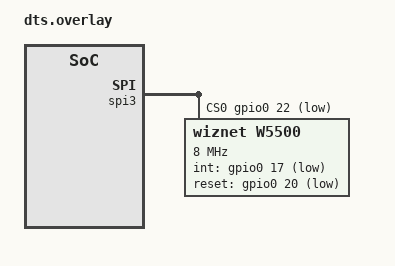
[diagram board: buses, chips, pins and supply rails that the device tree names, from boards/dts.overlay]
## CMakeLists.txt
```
# SPDX-License-Identifier: Apache-2.0

cmake_minimum_required(VERSION 3.20.0)

find_package(Zephyr REQUIRED HINTS $ENV{ZEPHYR_BASE})
project(ethernet)

set(DTC_OVERLAY_FILE "${CMAKE_CURRENT_SOURCE_DIR}/boards/dts.overlay")

FILE(GLOB app_sources src/*.c)
target_sources(app PRIVATE ${app_sources})
```

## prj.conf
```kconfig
# Ativar suporte ao SPI e W5500
CONFIG_SPI=y
CONFIG_ETH_W5500=y
CONFIG_NET_L2_ETHERNET=y
CONFIG_GPIO=y
CONFIG_ETH_W5500_TIMEOUT=1000

# Configurar rede com IP estático

CONFIG_NET_IPV4=y  # Optional, for IPv4 support
CONFIG_NET_IPV6=n  # Optional, for IPv6 support
#CONFIG_NET_CONFIG=y
CONFIG_NET_CONFIG_SETTINGS=y
CONFIG_NET_CONFIG_MY_IPV4_ADDR="192.168.1.100"
CONFIG_NET_CONFIG_MY_IPV4_NETMASK="255.255.255.0"
CONFIG_NET_CONFIG_MY_IPV4_GW="192.168.1.1"
#CONFIG_NET_CONFIG_MY_IPV4_DNS="8.8.8.8"
CONFIG_NET_DHCPV4=n
#CONFIG_NET_IF_UNICAST_IPV4_ADDR_COUNT=3;

# Habilitar logs para depuração
CONFIG_LOG=y
CONFIG_NET_LOG=y
#CONFIG_ETH_W5500_LOG_LEVEL_DBG=y
CONFIG_SPI_LOG_LEVEL_DBG=y
CONFIG_NET_CONFIG_AUTO_INIT=y  # Automatically initialize network interfaces
#NET_IF_MAX_IPV4_ADDR=5
CONFIG_NETWORKING=y

#ipv6
CONFIG_NET_IPV6_MLD=n

#CONFIG_NET_IF_IPV6=y
#CONFIG_NET_IPV6_AUTOCONF=y

CONFIG_NET_PKT_TX_COUNT=10
CONFIG_NET_PKT_RX_COUNT=10
CONFIG_NET_BUF_TX_COUNT=10
CONFIG_NET_BUF_RX_COUNT=10

#new

CONFIG_DNS_SERVER1="8.8.8.8"

# CONFIG_ETH_NATIVE_POSIX=y
# CONFIG_ETH_NATIVE_POSIX_RANDOM_MAC=y

# CONFIG_NET_IF_UNICAST_IPV6_ADDR_COUNT=3
# CONFIG_NET_IF_MCAST_IPV6_ADDR_COUNT=4
# CONFIG_NET_MAX_CONTEXTS=10

CONFIG_NET_SHELL=y
# CONFIG_NET_DEFAULT_IF_ETHERNET=y
CONFIG_NET_SOCKETS=y
# CONFIG_NET_SOCKETS_POSIX_NAMES=y

# CONFIG_UART_CONSOLE=n
# CONFIG_RTT_CONSOLE=y


CONFIG_NET_CONFIG_NEED_IPV4=y

# CONFIG_NET_BUF_TX_COUNT=32

# CONFIG_NET_IF_UNICAST_IPV6_ADDR_COUNT=3
# CONFIG_NET_IF_MCAST_IPV6_ADDR_COUNT=4
#CONFIG_NET_MAX_CONTEXTS=10

CONFIG_NET_MGMT=y
CONFIG_NET_MGMT_EVENT=y


# # Network address config
# CONFIG_NET_CONFIG_SETTINGS=y
# # CONFIG_NET_CONFIG_NEED_IPV6=y
# CONFIG_NET_CONFIG_NEED_IPV4=y

# CONFIG_NET_CONFIG_MY_IPV6_ADDR="2001:db8:200::1"
# CONFIG_NET_CONFIG_PEER_IPV6_ADDR="2001:db8:200::2"
# CONFIG_NET_CONFIG_MY_IPV4_ADDR="192.168.1.160"
# CONFIG_NET_CONFIG_PEER_IPV4_ADDR="192.168.1.161"
# CONFIG_NET_CONFIG_MY_IPV4_GW="192.168.1.1"
#  CONFIG_ETH_NATIVE_POSIX_RANDOM_MAC=n
# #CONFIG_ETH_NATIVE_POSIX_MAC_ADDR="00:00:5e:00:53:c8"
# CONFIG_ETH_NATIVE_POSIX_SETUP_SCRIPT="echo"
# CONFIG_ETH_NATIVE_POSIX_DRV_NAME="w5500"


CONFIG_DNS_RESOLVER=y
CONFIG_DNS_SERVER_IP_ADDRESSES=y

# CONFIG_NET_IPV6=y

CONFIG_NET_ARP=y
CONFIG_NET_TCP=y
CONFIG_NET_UDP=y


#CONFIG_APP_EVENT_MANAGER=y

CONFIG_ENTROPY_GENERATOR=y
CONFIG_TEST_RANDOM_GENERATOR=y
CONFIG_INIT_STACKS=y


CONFIG_NET_STATISTICS=y


# CONFIG_NET_PKT_RX_COUNT=32
# CONFIG_NET_PKT_TX_COUNT=32
# CONFIG_NET_BUF_RX_COUNT=32

# General config
CONFIG_NEWLIB_LIBC=y
CONFIG_MAIN_STACK_SIZE=1200
```

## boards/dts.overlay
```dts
//&w5500 {
//    compatible = "wiznet,w5500";
//    spi-max-frequency = <8000000>;
//    cs-gpios = <&gpio0 12 GPIO_ACTIVE_LOW>;  /* SCS (Chip Select) conectado ao P0.12 */
//    int-gpios = <&gpio0 17 GPIO_ACTIVE_HIGH>; /* INT (Interrupt) conectado ao P0.17 */
//    reset-gpios = <&gpio0 16 GPIO_ACTIVE_LOW>; /* RST (Reset) conectado ao P0.16 */
//    label = "W5500";
//};

//&spi0 {
//    status = "okay";
//    sck-pin = <13>;  /* SCLK conectado ao P0.13 */
//    mosi-pin = <14>; /* MOSI conectado ao P0.14 */
//    miso-pin = <15>; /* MISO conectado ao P0.15 */
//};

//&spi3 {
//    status = "okay";
//    cs-gpios = <&gpio0 12 GPIO_ACTIVE_LOW>;
//    w5500: w5500@0 {
//        compatible = "wiznet,w5500";
//        reg = <0>;
//        interrupt-gpios = <&gpio0 17 GPIO_ACTIVE_LOW>;
//        status = "okay";
//    };
//};


&spi0 {
    status = "disabled";
};
&spi1{
    status = "disabled";
};
&spi2 {
    status = "disabled";
};


&spi3 {
    compatible = "nordic,nrf-spim";    /* Driver SPI para nRF52833 */

    status = "okay";  /* Ativa o SPI3 */

    /* Define os pinos do SPI */
    //pinctrl-0 = < &spi3_default >;
    //pinctrl-1 = < &spi3_sleep >;
    //pinctrl-names = "default", "sleep";

    /* Configuração do Chip Select (CS) */
    cs-gpios = < &gpio0 22 GPIO_ACTIVE_LOW >; /* GPIO para CS */

    w5500: w5500@0 {
        compatible = "wiznet,w5500";
        reg = <0>;  /* Endereço do dispositivo SPI */
        spi-max-frequency = <8000000>; /* Frequência máxima do SPI (8 MHz) */
        int-gpios = < &gpio0 17 GPIO_ACTIVE_LOW >; /* Pino de interrupção */
        reset-gpios = <&gpio0 20 GPIO_ACTIVE_LOW>; /* Pino de reset */
        status = "okay";
    };
};

/*&pinctrl {
    spi3_default: spi3_default {
        group1 {
            psels = <0 21>,   P1.01 como SCK 
                    <0 20>,   P1.02 como MOSI 
                    <0 19>;   P1.07 como MISO 
            bias-pull-up;
        };
    };

    spi3_sleep: spi3_sleep {
        group1 {
            psels = <0 21>,  
                    <0 20>,  
                    <0 19>;
            low-power-enable;
        };
    };
};*/
```

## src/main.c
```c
/*
 * Copyright (c) 2022 Grant Ramsay <grant.ramsay@hotmail.com>
 *
 * SPDX-License-Identifier: Apache-2.0
 */

#define DT_DRV_COMPAT	wiznet_w5500

//Includes
#include <stdio.h>
#include <stdint.h>
//#include "nrf.h"
#include <string.h>
#include <errno.h>
#include <zephyr/kernel.h>
#include <zephyr/net/net_if.h>
#include <zephyr/net/net_ip.h>
#include <zephyr/net/ethernet.h>
#include <zephyr/drivers/ethernet/eth_nxp_enet.h>
#include <zephyr/net/socket.h>
#include <zephyr/logging/log.h>
#include <zephyr/random/random.h>
#include <zephyr/drivers/spi.h>
#include <zephyr/device.h>
#include <zephyr/net/net_mgmt.h>
#include <zephyr/net/net_if.h>
#include <zephyr/net/net_context.h>
#include <zephyr/net/icmp.h>
#include <zephyr/net/net_pkt.h>
#include <ethernet/eth_stats.h>
#include <zephyr/drivers/gpio.h>
#include <zephyr/net/net_pkt.h>
#include <zephyr/syscalls/random.h>

#include "eth.h"
#include "eth_w5500_priv.h"

//#include <zephyr/net/ipv6.h>
//#include <zephyr/net/net_route.h>
//#include <zephyr/net/icmpv6.h>



LOG_MODULE_REGISTER(main, CONFIG_ETHERNET_LOG_LEVEL);

#define WIZNET_OUI_B0	0x00
#define WIZNET_OUI_B1	0x08
#define WIZNET_OUI_B2	0xdc

#define W5500_SPI_BLOCK_SELECT(addr)	(((addr) >> 16) & 0x1f)
#define W5500_SPI_READ_CONTROL(addr)	(W5500_SPI_BLOCK_SELECT(addr) << 3)
#define W5500_SPI_WRITE_CONTROL(addr)   \
	((W5500_SPI_BLOCK_SELECT(addr) << 3) | BIT(2))


#define Mensagem "1 2 3 4\n"
#define IP_ADDR "192.168.1.100"
#define NETMASK "255.255.255.0"
#define GATEWAY "192.168.1.1"  // Defina o Gateway (Roteador) para a sua rede


/* Variáveis para interface de rede */
struct net_if *iface;
struct ethernet_config cfg;

#define SPI_NODE DT_NODELABEL(spi3)



/* Função para inicializar a rede */
void init_network(void)
{
    LOG_INF("Iniciando rede com IP estático...");

    struct net_if *iface = net_if_get_default();
    
    if (iface == NULL) {
        LOG_ERR("Interface de rede não encontrada!");
        return;
    }

    LOG_INF("Interface de rede ativa com IP: 192.168.1.100");
}

/* Função para configurar o SPI */
void init_spi(void)
{
    LOG_INF("Inicializando SPI3 para W5500...");
    const struct device *spi_dev = DEVICE_DT_GET(DT_NODELABEL(spi3));

    if (!device_is_ready(spi_dev)) {
        LOG_ERR("Dispositivo SPI3 não está pronto!");
        return;
    }

    LOG_INF("SPI3 inicializado com sucesso.");
}

/*
void print_ipv6_addresses(void) {
    struct net_if *iface = net_if_get_default();
    if (iface == NULL) {
        printk("Interface de rede padrão não encontrada.\n");
        return;
    }

    struct net_if_ipv6 *ipv6 = &iface->config.ip.ipv6;
    
    if (ipv6 == NULL) {
        printk("IPv6 não configurado nesta interface.\n");
        return;
    }

    printk("Endereços IPv6 configurados:\n");

     Verificar e exibir o endereço IPv6 configurado na interface 
    for (int i = 0; i < NET_IF_MAX_IPV6_ADDR; i++) {
        struct net_if_addr *addr = &ipv6->unicast[i];

        if (addr->is_used) {
            char addr_str[NET_IPV6_ADDR_LEN];
            net_addr_ntop(AF_INET6, &addr->address.in6_addr, addr_str, sizeof(addr_str));
            printk("  -> %s\n", addr_str);
        }
    }
}

void configure_ipv6_gateway(void) {
    struct net_if *iface;
    struct in6_addr gateway_addr = { { 0x78, 0x3b, 0x10, 0x00, 0x84, 0x18, 0x20, 0x00 } }; // exemplo de endereço de gateway
    struct net_route *route;

    // Obtém a interface de rede padrão
    iface = net_if_get_default();

    // Cria uma rota para o gateway IPv6
    route = net_route_add(iface, &gateway_addr, NET_IPV6_ADDR_PREFIX_LEN, NET_ROUTE_DEFAULT);
    if (route) {
        printk("Rota IPv6 configurada para o gateway.\n");
    } else {
        printk("Falha ao configurar a rota IPv6.\n");
    }
}*/


void print_ipv4_addresses(void) {
    struct net_if *iface = net_if_get_default();
    struct net_if_addr_ipv4 *ipv4_config;
    char ip_addr[NET_IPV4_ADDR_LEN];

    if (iface == NULL) {
        printk("Interface de rede padrão não encontrada.\n");
        return;
    }

    // Obtenha a configuração IPv4 da interface
    ipv4_config = iface->config.ip.ipv4;
    if (!ipv4_config) {
        printk("Erro: Configuração IPv4 não encontrada para a interface\n");
        return;
    }

    // Verifique se um endereço IP está configurado
    //net_if_ipv4_addr_add(iface, CONFIG_NET_CONFIG_MY_IPV4_ADDR, )
    if (ipv4_config->ipv4.addr_state == NET_ADDR_PREFERRED) {
        net_addr_ntop(AF_INET, &ipv4_config->ipv4.address.in_addr, ip_addr, sizeof(ip_addr));
        printk("Endereço IP configurado: %s\n", ip_addr);
    } else {
        printk("Nenhum endereço IP configurado\n");
    }
}

void configIPV4(void){
    struct net_if *iface;
    struct in_addr ipaddr, netmask, gw;

    // Obtenha a interface de rede padrão
    iface = net_if_get_default();
    if (!iface) {
        printk("Erro: Não foi possível obter a interface de rede padrão\n");
        return;
    }

    // Configurar endereço IP
    if (net_addr_pton(AF_INET,CONFIG_NET_CONFIG_MY_IPV4_ADDR, &ipaddr) < 0) {
        printk("Erro ao converter endereço IP\n");
        return;
    }

    // Configurar máscara de sub-rede
    if (net_addr_pton(AF_INET, CONFIG_NET_CONFIG_MY_IPV4_NETMASK, &netmask) < 0) {
        printk("Erro ao converter máscara de sub-rede\n");
        return;
    }

    // Configurar gateway
    if (net_addr_pton(AF_INET, CONFIG_NET_CONFIG_MY_IPV4_GW, &gw) < 0) {
        printk("Erro ao converter endereço do gateway\n");
        return;
    }

    // Adicionar endereço IP à interface
    net_if_ipv4_addr_add(iface, &ipaddr, NET_ADDR_MANUAL, 0);

    // Configurar máscara de sub-rede
    net_if_ipv4_set_netmask(iface, &netmask);

    // Configurar gateway padrão
    net_if_ipv4_set_gw(iface, &gw);

    printk("Configuração de rede concluída!\n");

}

void pingParaGateway(){
    struct net_if *iface;
    struct sockaddr_in dst;  // Estrutura de destino para IPv4
    struct net_icmp_ping_params params;
    int ret;

    printk("Iniciando envio de ICMP Echo Request (ping)...\n");

    // Obter a interface de rede padrão
    iface = net_if_get_default();
    if (!iface) {
        printk("Erro: Não foi possível obter a interface de rede padrão.\n");
        return;
    }

    // Configurar o endereço de destino
    dst.sin_family = AF_INET;  // Família de endereços IPv4
    dst.sin_port = 0;          // ICMP não usa portas
    net_addr_pton(AF_INET, CONFIG_NET_CONFIG_MY_IPV4_GW, &dst.sin_addr);  // Converter string IP para binário

    // Configurar os parâmetros do Echo Request
    params.identifier = htons(0x1234);  // Identificador (valor arbitrário)
    params.sequence = htons(1);         // Número de sequência inicial

    // Enviar o ICMP Echo Request
    ret = net_icmp_send_echo_request(NULL, iface, (struct sockaddr *)&dst, NULL, NULL);
    if (ret < 0) {
        printk("Erro ao enviar ICMP Echo Request: %d\n", ret);
    } else {
        printk("ICMP Echo Request enviado para %s com sucesso!\n", CONFIG_NET_CONFIG_MY_IPV4_GW);
    }
}

#define WIZNET_OUI_B0	0x00
#define WIZNET_OUI_B1	0x08
#define WIZNET_OUI_B2	0xdc

#define W5500_SPI_BLOCK_SELECT(addr)	(((addr) >> 16) & 0x1f)
#define W5500_SPI_READ_CONTROL(addr)	(W5500_SPI_BLOCK_SELECT(addr) << 3)
#define W5500_SPI_WRITE_CONTROL(addr)   \
	((W5500_SPI_BLOCK_SELECT(addr) << 3) | BIT(2))

static int w5500_spi_read(const struct device *dev, uint32_t addr,
			  uint8_t *data, uint32_t len)
{
	const struct w5500_config *cfg = dev->config;
	int ret;
	/* 3 bytes as 0x010203 during command phase */
	uint8_t tmp[len + 3];

	uint8_t cmd[3] = {
		addr >> 8,
		addr,
		W5500_SPI_READ_CONTROL(addr)
	};
	const struct spi_buf tx_buf = {
		.buf = cmd,
		.len = ARRAY_SIZE(cmd),
	};
	const struct spi_buf_set tx = {
		.buffers = &tx_buf,
		.count = 1,
	};
	const struct spi_buf rx_buf = {
		.buf = tmp,
		.len = ARRAY_SIZE(tmp),
	};
	const struct spi_buf_set rx = {
		.buffers = &rx_buf,
		.count = 1,
	};

	ret = spi_transceive_dt(&cfg->spi, &tx, &rx);

	if (!ret) {
		/* skip the default dummy 0x010203 */
		memcpy(data, &tmp[3], len);
	}

	return ret;
}

static int w5500_spi_write(const struct device *dev, uint32_t addr,
			   uint8_t *data, uint32_t len)
{
	const struct w5500_config *cfg = dev->config;
	int ret;
	uint8_t cmd[3] = {
		addr >> 8,
		addr,
		W5500_SPI_WRITE_CONTROL(addr),
	};
	const struct spi_buf tx_buf[2] = {
		{
			.buf = cmd,
			.len = ARRAY_SIZE(cmd),
		},
		{
			.buf = data,
			.len = len,
		},
	};
	const struct spi_buf_set tx = {
		.buffers = tx_buf,
		.count = ARRAY_SIZE(tx_buf),
	};

	ret = spi_write_dt(&cfg->spi, &tx);

	return ret;
}

static int w5500_readbuf(const struct device *dev, uint16_t offset, uint8_t *buf,
			 int len)
{
	uint32_t addr;
	int remain = 0;
	int ret;
	const uint32_t mem_start = W5500_Sn_RX_MEM_START;
	const uint16_t mem_size = W5500_RX_MEM_SIZE;

	offset %= mem_size;
	addr = mem_start + offset;

	if (offset + len > mem_size) {
		remain = (offset + len) % mem_size;
		len = mem_size - offset;
	}

	ret = w5500_spi_read(dev, addr, buf, len);
	if (ret || !remain) {
		return ret;
	}

	return w5500_spi_read(dev, mem_start, buf + len, remain);
}

static int w5500_writebuf(const struct device *dev, uint16_t offset, uint8_t *buf,
			  int len)
{
	uint32_t addr;
	int ret = 0;
	int remain = 0;
	const uint32_t mem_start = W5500_Sn_TX_MEM_START;
	const uint32_t mem_size = W5500_TX_MEM_SIZE;

	offset %= mem_size;
	addr = mem_start + offset;

	if (offset + len > mem_size) {
		remain = (offset + len) % mem_size;
		len = mem_size - offset;
	}

	ret = w5500_spi_write(dev, addr, buf, len);
	if (ret || !remain) {
		return ret;
	}

	return w5500_spi_write(dev, mem_start, buf + len, remain);
}

static int w5500_command(const struct device *dev, uint8_t cmd)
{
	uint8_t reg;
	uint64_t end = sys_clock_timeout_end_calc(K_MSEC(100));

	w5500_spi_write(dev, W5500_S0_CR, &cmd, 1);
	while (1) {
		w5500_spi_read(dev, W5500_S0_CR, &reg, 1);
		if (!reg) {
			break;
			}
		int64_t remaining = end - sys_clock_tick_get();
		if (remaining <= 0) {
			return -EIO;
			}
		k_busy_wait(W5500_PHY_ACCESS_DELAY);
		}
	return 0;
}

static int w5500_tx(const struct device *dev, struct net_pkt *pkt)
{
	struct w5500_runtime *ctx = dev->data;
	uint16_t len = net_pkt_get_len(pkt);
	uint16_t offset;
	uint8_t off[2];
	int ret;

	w5500_spi_read(dev, W5500_S0_TX_WR, off, 2);
	offset = sys_get_be16(off);

	if (net_pkt_read(pkt, ctx->buf, len)) {
		return -EIO;
	}

	ret = w5500_writebuf(dev, offset, ctx->buf, len);
	if (ret < 0) {
		return ret;
	}

	sys_put_be16(offset + len, off);
	w5500_spi_write(dev, W5500_S0_TX_WR, off, 2);

	w5500_command(dev, S0_CR_SEND);
	if (k_sem_take(&ctx->tx_sem, K_MSEC(10))) {
		return -EIO;
	}

	return 0;
}

static void w5500_rx(const struct device *dev)
{
	uint8_t header[2];
	uint8_t tmp[2];
	uint16_t off;
	uint16_t rx_len;
	uint16_t rx_buf_len;
	uint16_t read_len;
	uint16_t reader;
	struct net_buf *pkt_buf = NULL;
	struct net_pkt *pkt;
	struct w5500_runtime *ctx = dev->data;
	const struct w5500_config *config = dev->config;

	w5500_spi_read(dev, W5500_S0_RX_RSR, tmp, 2);
	rx_buf_len = sys_get_be16(tmp);

	if (rx_buf_len == 0) {
		return;
	}

	w5500_spi_read(dev, W5500_S0_RX_RD, tmp, 2);
	off = sys_get_be16(tmp);

	w5500_readbuf(dev, off, header, 2);
	rx_len = sys_get_be16(header) - 2;

	pkt = net_pkt_rx_alloc_with_buffer(ctx->iface, rx_len,
			AF_UNSPEC, 0, K_MSEC(config->timeout));
	if (!pkt) {
		eth_stats_update_errors_rx(ctx->iface);
		return;
	}

	pkt_buf = pkt->buffer;

	read_len = rx_len;
	reader = off + 2;

	do {
		size_t frag_len;
		uint8_t *data_ptr;
		size_t frame_len;

		data_ptr = pkt_buf->data;

		frag_len = net_buf_tailroom(pkt_buf);

		if (read_len > frag_len) {
			frame_len = frag_len;
		} else {
			frame_len = read_len;
		}

		w5500_readbuf(dev, reader, data_ptr, frame_len);
		net_buf_add(pkt_buf, frame_len);
		reader += frame_len;

		read_len -= frame_len;
		pkt_buf = pkt_buf->frags;
	} while (read_len > 0);

	if (net_recv_data(ctx->iface, pkt) < 0) {
		net_pkt_unref(pkt);
	}

	sys_put_be16(off + 2 + rx_len, tmp);
	w5500_spi_write(dev, W5500_S0_RX_RD, tmp, 2);
	w5500_command(dev, S0_CR_RECV);
}

static void w5500_thread(const struct device *dev)
{
	uint8_t ir;
	struct w5500_runtime *ctx = dev->data;
	const struct w5500_config *config = dev->config;

	while (true) {
		k_sem_take(&ctx->int_sem, K_FOREVER);

		while (gpio_pin_get_dt(&(config->interrupt))) {
			/* Read interrupt */
			w5500_spi_read(dev, W5500_S0_IR, &ir, 1);

			if (ir) {
				/* Clear interrupt */
				w5500_spi_write(dev, W5500_S0_IR, &ir, 1);

				LOG_DBG("IR received");

				if (ir & S0_IR_SENDOK) {
					k_sem_give(&ctx->tx_sem);
					LOG_DBG("TX Done");
				}

				if (ir & S0_IR_RECV) {
					w5500_rx(dev);
					LOG_DBG("RX Done");
				}
			}
		}
	}
}

static void w5500_iface_init(struct net_if *iface)
{
	const struct device *dev = net_if_get_device(iface);
	struct w5500_runtime *ctx = dev->data;

	net_if_set_link_addr(iface, ctx->mac_addr,
			     sizeof(ctx->mac_addr),
			     NET_LINK_ETHERNET);

	if (!ctx->iface) {
		ctx->iface = iface;
	}

	ethernet_init(iface);
}

static enum ethernet_hw_caps w5500_get_capabilities(const struct device *dev)
{
	ARG_UNUSED(dev);

	return ETHERNET_LINK_10BASE_T | ETHERNET_LINK_100BASE_T
#if defined(CONFIG_NET_PROMISCUOUS_MODE)
		| ETHERNET_PROMISC_MODE
#endif
	;
}

static int w5500_set_config(const struct device *dev,
			    enum ethernet_config_type type,
			    const struct ethernet_config *config)
{
	struct w5500_runtime *ctx = dev->data;

	switch (type) {
	case ETHERNET_CONFIG_TYPE_MAC_ADDRESS:
		memcpy(ctx->mac_addr,
			config->mac_address.addr,
			sizeof(ctx->mac_addr));
		w5500_spi_write(dev, W5500_SHAR, ctx->mac_addr, sizeof(ctx->mac_addr));
		LOG_INF("%s MAC set to %02x:%02x:%02x:%02x:%02x:%02x",
			dev->name,
			ctx->mac_addr[0], ctx->mac_addr[1],
			ctx->mac_addr[2], ctx->mac_addr[3],
			ctx->mac_addr[4], ctx->mac_addr[5]);

		/* Register Ethernet MAC Address with the upper layer */
		net_if_set_link_addr(ctx->iface, ctx->mac_addr,
			sizeof(ctx->mac_addr),
			NET_LINK_ETHERNET);

		return 0;
	case ETHERNET_CONFIG_TYPE_PROMISC_MODE:
		if (IS_ENABLED(CONFIG_NET_PROMISCUOUS_MODE)) {
			uint8_t mode;
			uint8_t mr = W5500_S0_MR_MF;

			w5500_spi_read(dev, W5500_S0_MR, &mode, 1);

			if (config->promisc_mode) {
				if (!(mode & BIT(mr))) {
					return -EALREADY;
				}

				/* disable MAC filtering */
				WRITE_BIT(mode, mr, 0);
			} else {
				if (mode & BIT(mr)) {
					return -EALREADY;
				}

				/* enable MAC filtering */
				WRITE_BIT(mode, mr, 1);
			}

			return w5500_spi_write(dev, W5500_S0_MR, &mode, 1);
		}

		return -ENOTSUP;
	default:
		return -ENOTSUP;
	}
}

static int w5500_hw_start(const struct device *dev)
{
	uint8_t mode = S0_MR_MACRAW | BIT(W5500_S0_MR_MF);
	uint8_t mask = IR_S0;

	/* configure Socket 0 with MACRAW mode and MAC filtering enabled */
	w5500_spi_write(dev, W5500_S0_MR, &mode, 1);
	w5500_command(dev, S0_CR_OPEN);

	/* enable interrupt */
	w5500_spi_write(dev, W5500_SIMR, &mask, 1);

	return 0;
}

static int w5500_hw_stop(const struct device *dev)
{
	uint8_t mask = 0;

	/* disable interrupt */
	w5500_spi_write(dev, W5500_SIMR, &mask, 1);
	w5500_command(dev, S0_CR_CLOSE);

	return 0;
}

static struct ethernet_api w5500_api_funcs = {
	.iface_api.init = w5500_iface_init,
	.get_capabilities = w5500_get_capabilities,
	.set_config = w5500_set_config,
	.start = w5500_hw_start,
	.stop = w5500_hw_stop,
	.send = w5500_tx,
};

static int w5500_hw_reset(const struct device *dev)
{
	int ret;
	uint8_t mask = 0;
	uint8_t tmp = MR_RST;

	ret = w5500_spi_write(dev, W5500_MR, &tmp, 1);
	if (ret < 0) {
		return ret;
	}

	k_msleep(5);
	tmp = MR_PB;
	w5500_spi_write(dev, W5500_MR, &tmp, 1);

	/* disable interrupt */
	return w5500_spi_write(dev, W5500_SIMR, &mask, 1);
}

static void w5500_gpio_callback(const struct device *dev,
				struct gpio_callback *cb,
				uint32_t pins)
{
	struct w5500_runtime *ctx =
		CONTAINER_OF(cb, struct w5500_runtime, gpio_cb);

	k_sem_give(&ctx->int_sem);
}

/*
static void w5500_set_macaddr(const struct device *dev)
{
	struct w5500_runtime *ctx = dev->data;

#if DT_INST_PROP(0, zephyr_random_mac_address)
	 override vendor bytes 
	memset(ctx->mac_addr, '\0', sizeof(ctx->mac_addr));
	ctx->mac_addr[0] = WIZNET_OUI_B0;
	ctx->mac_addr[1] = WIZNET_OUI_B1;
	ctx->mac_addr[2] = WIZNET_OUI_B2;
	if (ctx->generate_mac) {
		ctx->generate_mac(ctx->mac_addr);
	}
#endif
	memset(ctx->mac_addr, '\0', sizeof(ctx->mac_addr));
	ctx->mac_addr[0] = WIZNET_OUI_B0;
	ctx->mac_addr[1] = WIZNET_OUI_B1;
	ctx->mac_addr[2] = WIZNET_OUI_B2;
	if (ctx->generate_mac) {
		ctx->generate_mac(ctx->mac_addr);
	}
	w5500_spi_write(dev, W5500_SHAR, ctx->mac_addr, sizeof(ctx->mac_addr));
}
*/

static void w5500_memory_configure(const struct device *dev)
{
	int i;
	uint8_t mem = 0x10;

	/* Configure RX & TX memory to 16K */
	w5500_spi_write(dev, W5500_Sn_RXMEM_SIZE(0), &mem, 1);
	w5500_spi_write(dev, W5500_Sn_TXMEM_SIZE(0), &mem, 1);

	mem = 0;
	for (i = 1; i < 8; i++) {
		w5500_spi_write(dev, W5500_Sn_RXMEM_SIZE(i), &mem, 1);
		w5500_spi_write(dev, W5500_Sn_TXMEM_SIZE(i), &mem, 1);
	}
}

static void w5500_random_mac(uint8_t *mac_addr)
{
	gen_random_mac(mac_addr, WIZNET_OUI_B0, WIZNET_OUI_B1, WIZNET_OUI_B2);
}

static int w5500_init(const struct device *dev)
{
	int err;
	uint8_t rtr[2];
	const struct w5500_config *config = dev->config;
	struct w5500_runtime *ctx = dev->data;

	if (!spi_is_ready_dt(&config->spi)) {
		LOG_ERR("SPI master port %s not ready", config->spi.bus->name);
		return -EINVAL;
	}

	if (!device_is_ready(config->interrupt.port)) {
		LOG_ERR("GPIO port %s not ready", config->interrupt.port->name);
		return -EINVAL;
	}

	if (gpio_pin_configure_dt(&config->interrupt, GPIO_INPUT)) {
		LOG_ERR("Unable to configure GPIO pin %u", config->interrupt.pin);
		return -EINVAL;
	}

	gpio_init_callback(&(ctx->gpio_cb), w5500_gpio_callback,
			   BIT(config->interrupt.pin));

	if (gpio_add_callback(config->interrupt.port, &(ctx->gpio_cb))) {
		return -EINVAL;
	}

	gpio_pin_interrupt_configure_dt(&config->interrupt,
					GPIO_INT_EDGE_FALLING);

	if (config->reset.port) {
		if (!device_is_ready(config->reset.port)) {
			LOG_ERR("GPIO port %s not ready", config->reset.port->name);
			return -EINVAL;
		}
		if (gpio_pin_configure_dt(&config->reset, GPIO_OUTPUT)) {
			LOG_ERR("Unable to configure GPIO pin %u", config->reset.pin);
			return -EINVAL;
		}
		gpio_pin_set_dt(&config->reset, 0);
		k_usleep(500);
	}

	err = w5500_hw_reset(dev);
	if (err) {
		LOG_ERR("Reset failed");
		return err;
	}

	w5500_set_macaddr(dev);
	w5500_memory_configure(dev);

	/* check retry time value */
	w5500_spi_read(dev, W5500_RTR, rtr, 2);
	if (sys_get_be16(rtr) != RTR_DEFAULT) {
		LOG_ERR("Unable to read RTR register");
		return -ENODEV;
	}

	k_thread_create(&ctx->thread, ctx->thread_stack,
			CONFIG_ETH_W5500_RX_THREAD_STACK_SIZE,
			(k_thread_entry_t)w5500_thread,
			(void *)dev, NULL, NULL,
			K_PRIO_COOP(CONFIG_ETH_W5500_RX_THREAD_PRIO),
			0, K_NO_WAIT);

	LOG_INF("W5500 Initialized");

	return 0;
}

/*
static struct w5500_runtime w5500_0_runtime = {
#if NODE_HAS_VALID_MAC_ADDR(DT_DRV_INST(0))
	.mac_addr = DT_INST_PROP(0, local_mac_address),
#endif
	.generate_mac = w5500_random_mac,
	.tx_sem = Z_SEM_INITIALIZER(w5500_0_runtime.tx_sem,
					1,  UINT_MAX),
	.int_sem  = Z_SEM_INITIALIZER(w5500_0_runtime.int_sem,
				      0, UINT_MAX),
};*/

static const struct w5500_config w5500_0_config = {
	.spi = SPI_DT_SPEC_INST_GET(0, SPI_WORD_SET(8), 0),
	.interrupt = GPIO_DT_SPEC_INST_GET(0, int_gpios),
	.reset = GPIO_DT_SPEC_INST_GET_OR(0, reset_gpios, { 0 }),
	.timeout = CONFIG_ETH_W5500_TIMEOUT,
};

/*
ETH_NET_DEVICE_DT_INST_DEFINE(0,
		    w5500_init, NULL,
		    &w5500_0_runtime, &w5500_0_config,
		    CONFIG_ETH_INIT_PRIORITY, &w5500_api_funcs, NET_ETH_MTU);
*/

int main(void)
{
    LOG_INF("Iniciando aplicação W5500 com IP estático...");

    /* Inicializar SPI */
    init_spi();
    
    configIPV4();
	

    /* Inicializar rede */
    init_network();
    
    ////////////// Teste /////////////////////////////
    print_ipv4_addresses();

    pingParaGateway();

    /* Loop principal */
    while (1) {
        LOG_INF("Aplicação a rodar...");
        k_sleep(K_SECONDS(5));
    }

    return -1;
}
```

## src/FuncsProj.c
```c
// /* W5500 Stand-alone Ethernet Controller with SPI
//  *
//  * Copyright (c) 2020 Linumiz
//  * Author: Parthiban Nallathambi <parthiban@linumiz.com>
//  *
//  * SPDX-License-Identifier: Apache-2.0
//  */

// #define DT_DRV_COMPAT	wiznet_w5500


// LOG_MODULE_REGISTER(eth_w5500, CONFIG_ETHERNET_LOG_LEVEL);

// #include <zephyr/kernel.h>
// #include <zephyr/device.h>
// #include <string.h>
// #include <errno.h>
// #include <zephyr/drivers/gpio.h>
// #include <zephyr/drivers/spi.h>
// #include <zephyr/net/net_pkt.h>
// #include <zephyr/net/net_if.h>
// #include <zephyr/net/ethernet.h>
// #include <ethernet/eth_stats.h>

// #include "eth.h"
// #include "eth_w5500_priv.h"

// #define WIZNET_OUI_B0	0x00
// #define WIZNET_OUI_B1	0x08
// #define WIZNET_OUI_B2	0xdc

// #define W5500_SPI_BLOCK_SELECT(addr)	(((addr) >> 16) & 0x1f)
// #define W5500_SPI_READ_CONTROL(addr)	(W5500_SPI_BLOCK_SELECT(addr) << 3)
// #define W5500_SPI_WRITE_CONTROL(addr)   \
// 	((W5500_SPI_BLOCK_SELECT(addr) << 3) | BIT(2))

// static int w5500_spi_read(const struct device *dev, uint32_t addr,
// 			  uint8_t *data, uint32_t len)
// {
// 	const struct w5500_config *cfg = dev->config;
// 	int ret;
// 	/* 3 bytes as 0x010203 during command phase */
// 	uint8_t tmp[len + 3];

// 	uint8_t cmd[3] = {
// 		addr >> 8,
// 		addr,
// 		W5500_SPI_READ_CONTROL(addr)
// 	};
// 	const struct spi_buf tx_buf = {
// 		.buf = cmd,
// 		.len = ARRAY_SIZE(cmd),
// 	};
// 	const struct spi_buf_set tx = {
// 		.buffers = &tx_buf,
// 		.count = 1,
// 	};
// 	const struct spi_buf rx_buf = {
// 		.buf = tmp,
// 		.len = ARRAY_SIZE(tmp),
// 	};
// 	const struct spi_buf_set rx = {
// 		.buffers = &rx_buf,
// 		.count = 1,
// 	};

// 	ret = spi_transceive_dt(&cfg->spi, &tx, &rx);

// 	if (!ret) {
// 		/* skip the default dummy 0x010203 */
// 		memcpy(data, &tmp[3], len);
// 	}

// 	return ret;
// }

// static int w5500_spi_write(const struct device *dev, uint32_t addr,
// 			   uint8_t *data, uint32_t len)
// {
// 	const struct w5500_config *cfg = dev->config;
// 	int ret;
// 	uint8_t cmd[3] = {
// 		addr >> 8,
// 		addr,
// 		W5500_SPI_WRITE_CONTROL(addr),
// 	};
// 	const struct spi_buf tx_buf[2] = {
// 		{
// 			.buf = cmd,
// 			.len = ARRAY_SIZE(cmd),
// 		},
// 		{
// 			.buf = data,
// 			.len = len,
// 		},
// 	};
// 	const struct spi_buf_set tx = {
// 		.buffers = tx_buf,
// 		.count = ARRAY_SIZE(tx_buf),
// 	};

// 	ret = spi_write_dt(&cfg->spi, &tx);

// 	return ret;
// }

// static int w5500_readbuf(const struct device *dev, uint16_t offset, uint8_t *buf,
// 			 int len)
// {
// 	uint32_t addr;
// 	int remain = 0;
// 	int ret;
// 	const uint32_t mem_start = W5500_Sn_RX_MEM_START;
// 	const uint16_t mem_size = W5500_RX_MEM_SIZE;

// 	offset %= mem_size;
// 	addr = mem_start + offset;

// 	if (offset + len > mem_size) {
// 		remain = (offset + len) % mem_size;
// 		len = mem_size - offset;
// 	}

// 	ret = w5500_spi_read(dev, addr, buf, len);
// 	if (ret || !remain) {
// 		return ret;
// 	}

// 	return w5500_spi_read(dev, mem_start, buf + len, remain);
// }

// static int w5500_writebuf(const struct device *dev, uint16_t offset, uint8_t *buf,
// 			  int len)
// {
// 	uint32_t addr;
// 	int ret = 0;
// 	int remain = 0;
// 	const uint32_t mem_start = W5500_Sn_TX_MEM_START;
// 	const uint32_t mem_size = W5500_TX_MEM_SIZE;

// 	offset %= mem_size;
// 	addr = mem_start + offset;

// 	if (offset + len > mem_size) {
// 		remain = (offset + len) % mem_size;
// 		len = mem_size - offset;
// 	}

// 	ret = w5500_spi_write(dev, addr, buf, len);
// 	if (ret || !remain) {
// 		return ret;
// 	}

// 	return w5500_spi_write(dev, mem_start, buf + len, remain);
// }

// static int w5500_command(const struct device *dev, uint8_t cmd)
// {
// 	uint8_t reg;
// 	uint64_t end = sys_clock_timeout_end_calc(K_MSEC(100));

// 	w5500_spi_write(dev, W5500_S0_CR, &cmd, 1);
// 	while (1) {
// 		w5500_spi_read(dev, W5500_S0_CR, &reg, 1);
// 		if (!reg) {
// 			break;
// 			}
// 		int64_t remaining = end - sys_clock_tick_get();
// 		if (remaining <= 0) {
// 			return -EIO;
// 			}
// 		k_busy_wait(W5500_PHY_ACCESS_DELAY);
// 		}
// 	return 0;
// }

// static int w5500_tx(const struct device *dev, struct net_pkt *pkt)
// {
// 	struct w5500_runtime *ctx = dev->data;
// 	uint16_t len = net_pkt_get_len(pkt);
// 	uint16_t offset;
// 	uint8_t off[2];
// 	int ret;

// 	w5500_spi_read(dev, W5500_S0_TX_WR, off, 2);
// 	offset = sys_get_be16(off);

// 	if (net_pkt_read(pkt, ctx->buf, len)) {
// 		return -EIO;
// 	}

// 	ret = w5500_writebuf(dev, offset, ctx->buf, len);
// 	if (ret < 0) {
// 		return ret;
// 	}

// 	sys_put_be16(offset + len, off);
// 	w5500_spi_write(dev, W5500_S0_TX_WR, off, 2);

// 	w5500_command(dev, S0_CR_SEND);
// 	if (k_sem_take(&ctx->tx_sem, K_MSEC(10))) {
// 		return -EIO;
// 	}

// 	return 0;
// }

// static void w5500_rx(const struct device *dev)
// {
// 	uint8_t header[2];
// 	uint8_t tmp[2];
// 	uint16_t off;
// 	uint16_t rx_len;
// 	uint16_t rx_buf_len;
// 	uint16_t read_len;
// 	uint16_t reader;
// 	struct net_buf *pkt_buf = NULL;
// 	struct net_pkt *pkt;
// 	struct w5500_runtime *ctx = dev->data;
// 	const struct w5500_config *config = dev->config;

// 	w5500_spi_read(dev, W5500_S0_RX_RSR, tmp, 2);
// 	rx_buf_len = sys_get_be16(tmp);

// 	if (rx_buf_len == 0) {
// 		return;
// 	}

// 	w5500_spi_read(dev, W5500_S0_RX_RD, tmp, 2);
// 	off = sys_get_be16(tmp);

// 	w5500_readbuf(dev, off, header, 2);
// 	rx_len = sys_get_be16(header) - 2;

// 	pkt = net_pkt_rx_alloc_with_buffer(ctx->iface, rx_len,
// 			AF_UNSPEC, 0, K_MSEC(config->timeout));
// 	if (!pkt) {
// 		eth_stats_update_errors_rx(ctx->iface);
// 		return;
// 	}

// 	pkt_buf = pkt->buffer;

// 	read_len = rx_len;
// 	reader = off + 2;

// 	do {
// 		size_t frag_len;
// 		uint8_t *data_ptr;
// 		size_t frame_len;

// 		data_ptr = pkt_buf->data;

// 		frag_len = net_buf_tailroom(pkt_buf);

// 		if (read_len > frag_len) {
// 			frame_len = frag_len;
// 		} else {
// 			frame_len = read_len;
// 		}

// 		w5500_readbuf(dev, reader, data_ptr, frame_len);
// 		net_buf_add(pkt_buf, frame_len);
// 		reader += frame_len;

// 		read_len -= frame_len;
// 		pkt_buf = pkt_buf->frags;
// 	} while (read_len > 0);

// 	if (net_recv_data(ctx->iface, pkt) < 0) {
// 		net_pkt_unref(pkt);
// 	}

// 	sys_put_be16(off + 2 + rx_len, tmp);
// 	w5500_spi_write(dev, W5500_S0_RX_RD, tmp, 2);
// 	w5500_command(dev, S0_CR_RECV);
// }

// static void w5500_thread(const struct device *dev)
// {
// 	uint8_t ir;
// 	struct w5500_runtime *ctx = dev->data;
// 	const struct w5500_config *config = dev->config;

// 	while (true) {
// 		k_sem_take(&ctx->int_sem, K_FOREVER);

// 		while (gpio_pin_get_dt(&(config->interrupt))) {
// 			/* Read interrupt */
// 			w5500_spi_read(dev, W5500_S0_IR, &ir, 1);

// 			if (ir) {
// 				/* Clear interrupt */
// 				w5500_spi_write(dev, W5500_S0_IR, &ir, 1);

// 				LOG_DBG("IR received");

// 				if (ir & S0_IR_SENDOK) {
// 					k_sem_give(&ctx->tx_sem);
// 					LOG_DBG("TX Done");
// 				}

// 				if (ir & S0_IR_RECV) {
// 					w5500_rx(dev);
// 					LOG_DBG("RX Done");
// 				}
// 			}
// 		}
// 	}
// }

// static void w5500_iface_init(struct net_if *iface)
// {
// 	const struct device *dev = net_if_get_device(iface);
// 	struct w5500_runtime *ctx = dev->data;

// 	net_if_set_link_addr(iface, ctx->mac_addr,
// 			     sizeof(ctx->mac_addr),
// 			     NET_LINK_ETHERNET);

// 	if (!ctx->iface) {
// 		ctx->iface = iface;
// 	}

// 	ethernet_init(iface);
// }

// static enum ethernet_hw_caps w5500_get_capabilities(const struct device *dev)
// {
// 	ARG_UNUSED(dev);

// 	return ETHERNET_LINK_10BASE_T | ETHERNET_LINK_100BASE_T
// #if defined(CONFIG_NET_PROMISCUOUS_MODE)
// 		| ETHERNET_PROMISC_MODE
// #endif
// 	;
// }

// static int w5500_set_config(const struct device *dev,
// 			    enum ethernet_config_type type,
// 			    const struct ethernet_config *config)
// {
// 	struct w5500_runtime *ctx = dev->data;

// 	switch (type) {
// 	case ETHERNET_CONFIG_TYPE_MAC_ADDRESS:
// 		memcpy(ctx->mac_addr,
// 			config->mac_address.addr,
// 			sizeof(ctx->mac_addr));
// 		w5500_spi_write(dev, W5500_SHAR, ctx->mac_addr, sizeof(ctx->mac_addr));
// 		LOG_INF("%s MAC set to %02x:%02x:%02x:%02x:%02x:%02x",
// 			dev->name,
// 			ctx->mac_addr[0], ctx->mac_addr[1],
// 			ctx->mac_addr[2], ctx->mac_addr[3],
// 			ctx->mac_addr[4], ctx->mac_addr[5]);

// 		/* Register Ethernet MAC Address with the upper layer */
// 		net_if_set_link_addr(ctx->iface, ctx->mac_addr,
// 			sizeof(ctx->mac_addr),
// 			NET_LINK_ETHERNET);

// 		return 0;
// 	case ETHERNET_CONFIG_TYPE_PROMISC_MODE:
// 		if (IS_ENABLED(CONFIG_NET_PROMISCUOUS_MODE)) {
// 			uint8_t mode;
// 			uint8_t mr = W5500_S0_MR_MF;

// 			w5500_spi_read(dev, W5500_S0_MR, &mode, 1);

// 			if (config->promisc_mode) {
// 				if (!(mode & BIT(mr))) {
// 					return -EALREADY;
// 				}

// 				/* disable MAC filtering */
// 				WRITE_BIT(mode, mr, 0);
// 			} else {
// 				if (mode & BIT(mr)) {
// 					return -EALREADY;
// 				}

// 				/* enable MAC filtering */
// 				WRITE_BIT(mode, mr, 1);
// 			}

// 			return w5500_spi_write(dev, W5500_S0_MR, &mode, 1);
// 		}

// 		return -ENOTSUP;
// 	default:
// 		return -ENOTSUP;
// 	}
// }

// static int w5500_hw_start(const struct device *dev)
// {
// 	uint8_t mode = S0_MR_MACRAW | BIT(W5500_S0_MR_MF);
// 	uint8_t mask = IR_S0;

// 	/* configure Socket 0 with MACRAW mode and MAC filtering enabled */
// 	w5500_spi_write(dev, W5500_S0_MR, &mode, 1);
// 	w5500_command(dev, S0_CR_OPEN);

// 	/* enable interrupt */
// 	w5500_spi_write(dev, W5500_SIMR, &mask, 1);

// 	return 0;
// }

// static int w5500_hw_stop(const struct device *dev)
// {
// 	uint8_t mask = 0;

// 	/* disable interrupt */
// 	w5500_spi_write(dev, W5500_SIMR, &mask, 1);
// 	w5500_command(dev, S0_CR_CLOSE);

// 	return 0;
// }

// static struct ethernet_api w5500_api_funcs = {
// 	.iface_api.init = w5500_iface_init,
// 	.get_capabilities = w5500_get_capabilities,
// 	.set_config = w5500_set_config,
// 	.start = w5500_hw_start,
// 	.stop = w5500_hw_stop,
// 	.send = w5500_tx,
// };

// static int w5500_hw_reset(const struct device *dev)
// {
// 	int ret;
// 	uint8_t mask = 0;
// 	uint8_t tmp = MR_RST;

// 	ret = w5500_spi_write(dev, W5500_MR, &tmp, 1);
// 	if (ret < 0) {
// 		return ret;
// 	}

// 	k_msleep(5);
// 	tmp = MR_PB;
// 	w5500_spi_write(dev, W5500_MR, &tmp, 1);

// 	/* disable interrupt */
// 	return w5500_spi_write(dev, W5500_SIMR, &mask, 1);
// }

// static void w5500_gpio_callback(const struct device *dev,
// 				struct gpio_callback *cb,
// 				uint32_t pins)
// {
// 	struct w5500_runtime *ctx =
// 		CONTAINER_OF(cb, struct w5500_runtime, gpio_cb);

// 	k_sem_give(&ctx->int_sem);
// }

// static void w5500_set_macaddr(const struct device *dev)
// {
// 	struct w5500_runtime *ctx = dev->data;

// #if DT_INST_PROP(0, zephyr_random_mac_address)
// 	/* override vendor bytes */
// 	memset(ctx->mac_addr, '\0', sizeof(ctx->mac_addr));
// 	ctx->mac_addr[0] = WIZNET_OUI_B0;
// 	ctx->mac_addr[1] = WIZNET_OUI_B1;
// 	ctx->mac_addr[2] = WIZNET_OUI_B2;
// 	if (ctx->generate_mac) {
// 		ctx->generate_mac(ctx->mac_addr);
// 	}
// #endif
// 	memset(ctx->mac_addr, '\0', sizeof(ctx->mac_addr));
// 	ctx->mac_addr[0] = WIZNET_OUI_B0;
// 	ctx->mac_addr[1] = WIZNET_OUI_B1;
// 	ctx->mac_addr[2] = WIZNET_OUI_B2;
// 	if (ctx->generate_mac) {
// 		ctx->generate_mac(ctx->mac_addr);
// 	}
// 	w5500_spi_write(dev, W5500_SHAR, ctx->mac_addr, sizeof(ctx->mac_addr));
// }

// static void w5500_memory_configure(const struct device *dev)
// {
// 	int i;
// 	uint8_t mem = 0x10;

// 	/* Configure RX & TX memory to 16K */
// 	w5500_spi_write(dev, W5500_Sn_RXMEM_SIZE(0), &mem, 1);
// 	w5500_spi_write(dev, W5500_Sn_TXMEM_SIZE(0), &mem, 1);

// 	mem = 0;
// 	for (i = 1; i < 8; i++) {
// 		w5500_spi_write(dev, W5500_Sn_RXMEM_SIZE(i), &mem, 1);
// 		w5500_spi_write(dev, W5500_Sn_TXMEM_SIZE(i), &mem, 1);
// 	}
// }

// static void w5500_random_mac(uint8_t *mac_addr)
// {
// 	gen_random_mac(mac_addr, WIZNET_OUI_B0, WIZNET_OUI_B1, WIZNET_OUI_B2);
// }

// static int w5500_init(const struct device *dev)
// {
// 	int err;
// 	uint8_t rtr[2];
// 	const struct w5500_config *config = dev->config;
// 	struct w5500_runtime *ctx = dev->data;

// 	if (!spi_is_ready_dt(&config->spi)) {
// 		LOG_ERR("SPI master port %s not ready", config->spi.bus->name);
// 		return -EINVAL;
// 	}

// 	if (!device_is_ready(config->interrupt.port)) {
// 		LOG_ERR("GPIO port %s not ready", config->interrupt.port->name);
// 		return -EINVAL;
// 	}

// 	if (gpio_pin_configure_dt(&config->interrupt, GPIO_INPUT)) {
// 		LOG_ERR("Unable to configure GPIO pin %u", config->interrupt.pin);
// 		return -EINVAL;
// 	}

// 	gpio_init_callback(&(ctx->gpio_cb), w5500_gpio_callback,
// 			   BIT(config->interrupt.pin));

// 	if (gpio_add_callback(config->interrupt.port, &(ctx->gpio_cb))) {
// 		return -EINVAL;
// 	}

// 	gpio_pin_interrupt_configure_dt(&config->interrupt,
// 					GPIO_INT_EDGE_FALLING);

// 	if (config->reset.port) {
// 		if (!device_is_ready(config->reset.port)) {
// 			LOG_ERR("GPIO port %s not ready", config->reset.port->name);
// 			return -EINVAL;
// 		}
// 		if (gpio_pin_configure_dt(&config->reset, GPIO_OUTPUT)) {
// 			LOG_ERR("Unable to configure GPIO pin %u", config->reset.pin);
// 			return -EINVAL;
// 		}
// 		gpio_pin_set_dt(&config->reset, 0);
// 		k_usleep(500);
// 	}

// 	err = w5500_hw_reset(dev);
// 	if (err) {
// 		LOG_ERR("Reset failed");
// 		return err;
// 	}

// 	w5500_set_macaddr(dev);
// 	w5500_memory_configure(dev);

// 	/* check retry time value */
// 	w5500_spi_read(dev, W5500_RTR, rtr, 2);
// 	if (sys_get_be16(rtr) != RTR_DEFAULT) {
// 		LOG_ERR("Unable to read RTR register");
// 		return -ENODEV;
// 	}

// 	k_thread_create(&ctx->thread, ctx->thread_stack,
// 			CONFIG_ETH_W5500_RX_THREAD_STACK_SIZE,
// 			(k_thread_entry_t)w5500_thread,
// 			(void *)dev, NULL, NULL,
// 			K_PRIO_COOP(CONFIG_ETH_W5500_RX_THREAD_PRIO),
// 			0, K_NO_WAIT);

// 	LOG_INF("W5500 Initialized");

// 	return 0;
// }

// static struct w5500_runtime w5500_0_runtime = {
// #if NODE_HAS_VALID_MAC_ADDR(DT_DRV_INST(0))
// 	.mac_addr = DT_INST_PROP(0, local_mac_address),
// #endif
// 	.generate_mac = w5500_random_mac,
// 	.tx_sem = Z_SEM_INITIALIZER(w5500_0_runtime.tx_sem,
// 					1,  UINT_MAX),
// 	.int_sem  = Z_SEM_INITIALIZER(w5500_0_runtime.int_sem,
// 				      0, UINT_MAX),
// };

// static const struct w5500_config w5500_0_config = {
// 	.spi = SPI_DT_SPEC_INST_GET(0, SPI_WORD_SET(8), 0),
// 	.interrupt = GPIO_DT_SPEC_INST_GET(0, int_gpios),
// 	.reset = GPIO_DT_SPEC_INST_GET_OR(0, reset_gpios, { 0 }),
// 	.timeout = CONFIG_ETH_W5500_TIMEOUT,
// };

// ETH_NET_DEVICE_DT_INST_DEFINE(0,
// 		    w5500_init, NULL,
// 		    &w5500_0_runtime, &w5500_0_config,
// 		    CONFIG_ETH_INIT_PRIORITY, &w5500_api_funcs, NET_ETH_MTU);
```

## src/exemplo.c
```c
/* Networking DHCPv4 client */

/*
 * Copyright (c) 2017 ARM Ltd.
 * Copyright (c) 2016 Intel Corporation.
 *
 * SPDX-License-Identifier: Apache-2.0
 */
////////////////// exemplo 1 /////////////////////////////////////
//#include <zephyr/logging/log.h>
//LOG_MODULE_REGISTER(net_dhcpv4_client_sample, LOG_LEVEL_DBG);
/*
#include <zephyr/kernel.h>
#include <zephyr/linker/sections.h>
#include <errno.h>
#include <stdio.h>

#include <zephyr/net/net_if.h>
#include <zephyr/net/net_core.h>
#include <zephyr/net/net_context.h>
#include <zephyr/net/net_mgmt.h>

#ifdef IS_ENABLED(CONFIG_NET_L2_ETHERNET))
#include <zephyr/net/net_if.h>
#endif

static struct net_mgmt_event_callback mgmt_cb;

static void handler(struct net_mgmt_event_callback *cb,
		    uint32_t mgmt_event,
		    struct net_if *iface)
{
	int i = 0;

	if (mgmt_event != NET_EVENT_IPV4_ADDR_ADD) {
		return;
	}

	for (i = 0; i < NET_IF_MAX_IPV4_ADDR; i++) {
		char buf[NET_IPV4_ADDR_LEN];

		if (iface->config.ip.ipv4->unicast[i].addr_type !=
							NET_ADDR_DHCP) {
			continue;
		}

		LOG_INF("Your address: %s",
			net_addr_ntop(AF_INET,
			    &iface->config.ip.ipv4->unicast[i].address.in_addr,
						  buf, sizeof(buf)));
		LOG_INF("Lease time: %u seconds",
			 iface->config.dhcpv4.lease_time);
		LOG_INF("Subnet: %s",
			net_addr_ntop(AF_INET,
				       &iface->config.ip.ipv4->netmask,
				       buf, sizeof(buf)));
		LOG_INF("Router: %s",
			net_addr_ntop(AF_INET,
						 &iface->config.ip.ipv4->gw,
						 buf, sizeof(buf)));
	}
}

void main(void)
{  
    struct net_if *iface;

	LOG_INF("Run dhcpv4 client");

	net_mgmt_init_event_callback(&mgmt_cb, handler,
				     NET_EVENT_IPV4_ADDR_ADD);
	net_mgmt_add_event_callback(&mgmt_cb);

	iface = net_if_get_default();

	net_dhcpv4_start(iface);
	
}
*/
/////////////////////////// exemplo 2 //////////////////////////
/*
#include <zephyr.h>
#include <net/socket.h>
#include <logging/log.h>

LOG_MODULE_REGISTER(tcp_server, LOG_LEVEL_INF);

#define SERVER_PORT 4242
#define RECV_BUFFER_SIZE 128

void main(void) {
    int server_fd, client_fd;
    struct sockaddr_in addr, client_addr;
    socklen_t client_addr_len = sizeof(client_addr);
    char recv_buffer[RECV_BUFFER_SIZE];
    int ret;

    // Cria o socket
    server_fd = socket(AF_INET, SOCK_STREAM, IPPROTO_TCP);
    if (server_fd < 0) {
        LOG_ERR("Falha ao criar socket: %d", errno);
        return;
    }

    addr.sin_family = AF_INET;
    addr.sin_port = htons(SERVER_PORT);
    addr.sin_addr.s_addr = INADDR_ANY;

    // Vincula o socket ao endereço e porta
    ret = bind(server_fd, (struct sockaddr *)&addr, sizeof(addr));
    if (ret < 0) {
        LOG_ERR("Falha ao fazer bind: %d", errno);
        close(server_fd);
        return;
    }

    // Coloca o socket em modo de escuta
    ret = listen(server_fd, 5);
    if (ret < 0) {
        LOG_ERR("Falha ao colocar em escuta: %d", errno);
        close(server_fd);
        return;
    }

    LOG_INF("Servidor TCP ouvindo na porta %d", SERVER_PORT);

    while (1) {
        // Aceita conexões de clientes
        client_fd = accept(server_fd, (struct sockaddr *)&client_addr, &client_addr_len);
        if (client_fd < 0) {
            LOG_ERR("Falha ao aceitar conexão: %d", errno);
            continue;
        }

        LOG_INF("Cliente conectado");

        // Recebe dados do cliente
        ret = recv(client_fd, recv_buffer, sizeof(recv_buffer), 0);
        if (ret > 0) {
            recv_buffer[ret] = '\0'; // Garante terminação da string
            LOG_INF("Recebido do cliente: %s", recv_buffer);

            // Envia resposta ao cliente
            send(client_fd, "Mensagem recebida!\n", 19, 0);
        }

        // Fecha a conexão com o cliente
        close(client_fd);
    }
}
*/
//CMake multiplos overlays
// set(DTC_OVERLAY_FILE "${CMAKE_CURRENT_SOURCE_DIR}/file1.overlay ${CMAKE_CURRENT_SOURCE_DIR}/file2.overlay")



/*
 * Copyright (c) 2022 Grant Ramsay <grant.ramsay@hotmail.com>
 *
 * SPDX-License-Identifier: Apache-2.0
 */

/*
//Includes
#include <stdio.h>
#include <stdint.h>
//#include "nrf.h"
#include <zephyr/kernel.h>
#include <zephyr/net/net_if.h>
#include <zephyr/net/ethernet.h>
#include <zephyr/drivers/ethernet/eth_nxp_enet.h>
#include <zephyr/net/socket.h>
#include <zephyr/logging/log.h>
#include <zephyr/drivers/spi.h>
#include <zephyr/device.h>

LOG_MODULE_REGISTER(tcp_server, LOG_LEVEL_INF);

#define SERVER_PORT 4242
#define RECV_BUFFER_SIZE 128

#define SPI_INSTANCE  0  // SPI instance index
#define W5500_CS_PIN  22 // Chip Select (CS) pin

#define Mensagem "1 2 3 4\n"

// Para testes
static const struct device *spi_dev;
static const struct device *gpio_dev;

#define SPI_OP_READ 0x00

 Configuração do SPI3 

LOG_MODULE_REGISTER(main, LOG_LEVEL_DBG);

 Variáveis para interface de rede 
struct net_if *iface;
struct ethernet_config cfg;

#define SPI_NODE DT_NODELABEL(spi3)

static const struct device *spi_dev = DEVICE_DT_GET(SPI_NODE);
static struct spi_config spi_cfg = {
    .operation = SPI_OP_MODE_MASTER | SPI_TRANSFER_MSB | SPI_WORD_SET(8),
    .frequency = 8000000,  8 MHz 
    .slave     = 0,
};

 Função para inicializar a rede 
void init_network(void)
{
    LOG_INF("Iniciando rede com IP estático...");

    iface = net_if_get_default();

    if (iface == NULL) {
        LOG_ERR("Interface de rede não encontrada!");
        return;
    }

    LOG_INF("Interface de rede ativa com IP: 192.168.1.100");
}

 Função para configurar o SPI 
void init_spi(void)
{
    LOG_INF("Inicializando SPI3 para W5500...");
    const struct device *spi_dev = DEVICE_DT_GET(DT_NODELABEL(spi3));

    if (!device_is_ready(spi_dev)) {
        LOG_ERR("Dispositivo SPI3 não está pronto!");
        return;
    }

    LOG_INF("SPI3 inicializado com sucesso.");
}



int main(void)
{
    LOG_INF("Testes");
    
    uint8_t tx_buf[] = {0x00, 0x00};  Comando SPI 
    uint8_t rx_buf[2] = {0};

    const struct spi_buf tx_spi_buf = {.buf = tx_buf, .len = sizeof(tx_buf)};
    const struct spi_buf rx_spi_buf = {.buf = rx_buf, .len = sizeof(rx_buf)};
    
    const struct spi_buf_set tx = {.buffers = &tx_spi_buf, .count = 1};
    const struct spi_buf_set rx = {.buffers = &rx_spi_buf, .count = 1};
    
    if (!device_is_ready(spi_dev)) {
        LOG_ERR("Erro: SPI3 não está pronto");
    }

    LOG_INF("Testar a comunicacao SPI...");
    int ret1 = spi_transceive(spi_dev, &spi_cfg, &tx, &rx);
    if (ret1 == 0) {
        LOG_INF("Sucesso: RX[0] = 0x%x RX[1] = 0x%x", rx_buf[0], rx_buf[1]);
    } else {
        LOG_ERR("Erro: %d\n", ret1);
    }

    //////////////////////// Testes w5500 //////////////////////////////////////////
    LOG_INF("Iniciando teste de comunicação com o W5500...");

    struct net_if *iface = net_if_get_default();
    net_dhcpv4_start(iface);
    if (iface == NULL) {
        LOG_ERR("Nenhuma interface de rede encontrada");
        return -1;
    }

    // Verificar se a interface está ativa
    if (!net_if_is_up(iface)) {
        LOG_ERR("Interface de rede não está ativa");
    } else {
        LOG_INF("Interface de rede está ativa");
    }

    LOG_INF("Testes terminados");
    k_sleep(K_MSEC(500));
    ///////////////////////// Comunicação //////////////////////////////////////////
	LOG_INF("COMEÇO");

	int server_fd, client_fd;
    struct sockaddr_in addr, client_addr;
    socklen_t client_addr_len = sizeof(client_addr);
    char recv_buffer[RECV_BUFFER_SIZE];
    int ret;

    // Cria o socket
    server_fd = socket(AF_INET, SOCK_STREAM, IPPROTO_TCP);
    if (server_fd < 0) {
        LOG_ERR("Falha ao criar socket: %d", errno);
        return -1;
    }
    

    addr.sin_family = AF_INET;
    addr.sin_port = htons(SERVER_PORT);
    addr.sin_addr.s_addr = INADDR_ANY;

    // Vincula o socket ao endereço e porta
    ret = bind(server_fd, (struct sockaddr *)&addr, sizeof(addr));
    if (ret < 0) {
        LOG_ERR("Falha ao fazer bind: %d", errno);
        close(server_fd);
        return -1;
    }


    // Coloca o socket em modo de escuta
    ret = listen(server_fd, 5);
    if (ret < 0) {
        LOG_ERR("Falha ao colocar em escuta: %d", errno);
        close(server_fd);
        return -1;
    }

    LOG_INF("Servidor TCP ouvindo na porta %d", SERVER_PORT);

    while(1) {
        LOG_INF("ENTREI NO WHILE");





        // Aceita conexões de clientes
        client_fd = accept(server_fd, (struct sockaddr *)&client_addr, &client_addr_len);
        if (client_fd < 0) {
            LOG_ERR("Falha ao aceitar conexão: %d", errno);
            continue;
        }

        LOG_INF("Cliente conectado");

        // Recebe dados do cliente
        ret = recv(client_fd, recv_buffer, sizeof(recv_buffer), 0);
        if (ret > 0) {
            recv_buffer[ret] = '\0'; // Garante terminação da string
            LOG_INF("Recebido do cliente: %s", recv_buffer);

            // Envia resposta ao cliente
            send(client_fd, Mensagem, 19, 0);
        }

        // Fecha a conexão com o cliente
        close(client_fd);
    }
	
	return 0;
}
*/
```
